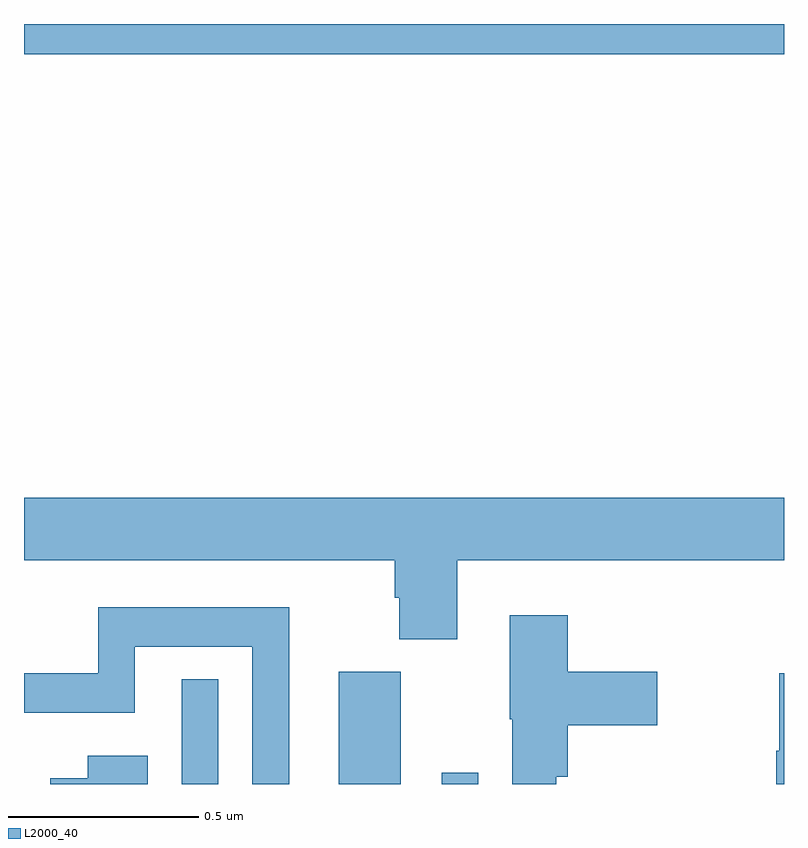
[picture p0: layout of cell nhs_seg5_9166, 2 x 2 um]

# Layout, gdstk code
import gdstk
lib = gdstk.Library(unit=1e-6, precision=1e-09)
def R(c, l, rs):  # rectangles x0, y0, x1, y1
    for r in rs: c.add(gdstk.rectangle(r[:2], r[2:], *l))
def P(c, l, *ps):  # polygons
    for p in ps: c.add(gdstk.Polygon(p, *l))
L2000_40 = (2000, 40)

nhs_seg5_9166 = lib.new_cell('nhs_seg5_9166')
R(nhs_seg5_9166, L2000_40, [(230.415,894.799,230.511,895.075), (230.828,894.799,230.992,895.095), (231.099,894.799,231.195,894.829), (230,896.72,232,896.799)])
P(nhs_seg5_9166, L2000_40, [(231.14,895.388),(232,895.388),(232,895.552),(230,895.552),(230,895.388),(230.975,895.388),(230.975,895.289),(230.987,895.289),(230.987,895.18),(231.14,895.18)],
  [(230.698,895.264),(230.195,895.264),(230.195,895.09),(230,895.09),(230,894.986),(230.292,894.986),(230.292,895.16),(230.601,895.16),(230.601,894.799),(230.698,894.799)],
  [(231.401,894.818),(231.431,894.818),(231.431,894.953),(231.667,894.953),(231.667,895.095),(231.431,895.095),(231.431,895.243),(231.278,895.243),(231.278,894.969),(231.285,894.969),(231.285,894.799),(231.401,894.799)],
  [(232,895.09),(231.987,895.09),(231.987,894.886),(231.979,894.886),(231.979,894.799),(232,894.799)],
  [(230.326,894.874),(230.168,894.874),(230.168,894.814),(230.069,894.814),(230.069,894.799),(230.326,894.799)])

lib.write_gds('nhs_seg5_9166.gds')
